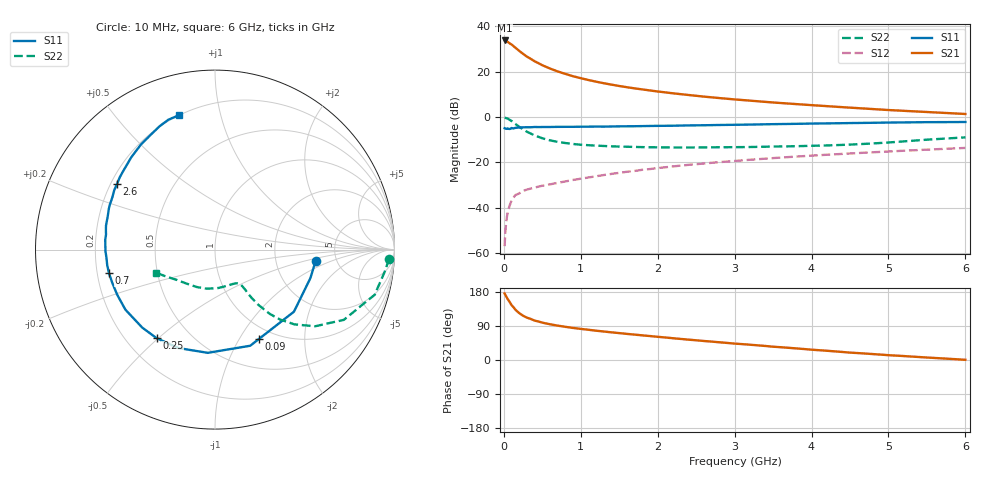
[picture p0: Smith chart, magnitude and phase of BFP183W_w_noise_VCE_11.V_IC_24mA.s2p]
! (c) 2017  Infineon Technologies AG, Munich
! Infineon Technologies  Discrete & RF Semiconductors
! BFP183W
! VCE =  11. V,  IC =  24 mA
! Common Emitter S-Parameters:  Jan 2017
# GHz  S  MA  R  50
!  f  S11  S21  S12  S22
! GHz  MAG  ANG  MAG  ANG  MAG  ANG  MAG  ANG
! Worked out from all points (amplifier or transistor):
!   77 points, 10 MHz to 6 GHz, reference 50 ohm
!   highest |S21| = 33.8 dB at 10 MHz (marker M1)
!   |S21| within 3 dB of that: start of sweep to 143.3 MHz
!   unconditionally stable (mu >= 1): 1.177 GHz to 3.547 GHz
!   at 130 MHz: K = 0.26, MSG = 33.3 dB, |S12| = -35.4 dB
!   at 2.2 GHz: K = 1.06, MAG = 14.6 dB, |S12| = -21.8 dB
!   at 6 GHz: K = 0.86, MSG = 7.5 dB, |S12| = -13.7 dB
!   lowest NFmin = 1.27 dB at 450 MHz
!   S11 on the Smith chart (normalised r, x): 10 MHz: 3.45, -0.66; 90 MHz: 0.85, -1.22; 250 MHz: 0.33, -0.49; 700 MHz: 0.25, -0.10; 2.6 GHz: 0.23, +0.29; 6 GHz: 0.20, +0.75
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0.01  0.564 -6.6  49.08 175.7  0.0014 77.0  0.9694 -3.0
0.02  0.5547 -16.7  47.98 171.4  0.003 81.0  0.9584 -6.4
0.05  0.5596 -38.2  45.72 160.7  0.0078 73.0  0.9247 -15.8
0.09  0.5547 -63.8  40.91 148.3  0.0129 65.8  0.8354 -25.8
0.1  0.5705 -69.9  40.04 144.8  0.0142 64.8  0.8176 -28.6
0.15  0.5766 -94.0  34.04 132.8  0.0188 55.8  0.702 -37.5
0.2  0.5854 -110.5  28.88 123.7  0.0205 51.5  0.6071 -43.3
0.25  0.5909 -123.4  24.82 116.8  0.0233 48.1  0.5314 -47.1
0.3  0.5943 -133.0  21.57 111.7  0.0249 46.1  0.472 -49.5
0.4  0.6009 -146.1  17.02 104.0  0.0276 46.4  0.3905 -51.9
0.5  0.6002 -155.2  13.91 98.6  0.0303 46.9  0.3394 -52.8
0.6  0.6015 -162.1  11.77 94.3  0.0325 48.4  0.3047 -53.1
0.7  0.6054 -167.5  10.15 90.7  0.0351 50.0  0.2813 -53.0
0.9  0.6066 -175.9  7.957 84.6  0.0407 52.7  0.2534 -53.3
1.1  0.6115 177.7  6.562 79.8  0.0461 54.9  0.2381 -54.0
1.5  0.6216 167.7  4.84 71.0  0.0585 57.8  0.2221 -57.8
2.1  0.6389 155.0  3.497 59.4  0.0776 58.3  0.2128 -68.1
2.6  0.657 146.2  2.822 50.2  0.0938 57.4  0.2128 -79.9
3.1  0.6762 138.1  2.37 41.9  0.1101 55.6  0.2162 -92.4
4.1  0.7191 123.9  1.781 25.8  0.1432 50.8  0.233 -118.1
5.1  0.7564 113.2  1.397 11.6  0.1763 45.0  0.2811 -144.3
6  0.7751 105.2  1.166 0.5  0.2074 39.3  0.3547 -158.9
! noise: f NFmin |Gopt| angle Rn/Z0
0.45  1.27  0.23  176  0.1
0.9  1.29  0.27  178  0.09
1.9  1.78  0.43  -159  0.09
2.4  2.01  0.47  -154  0.13
